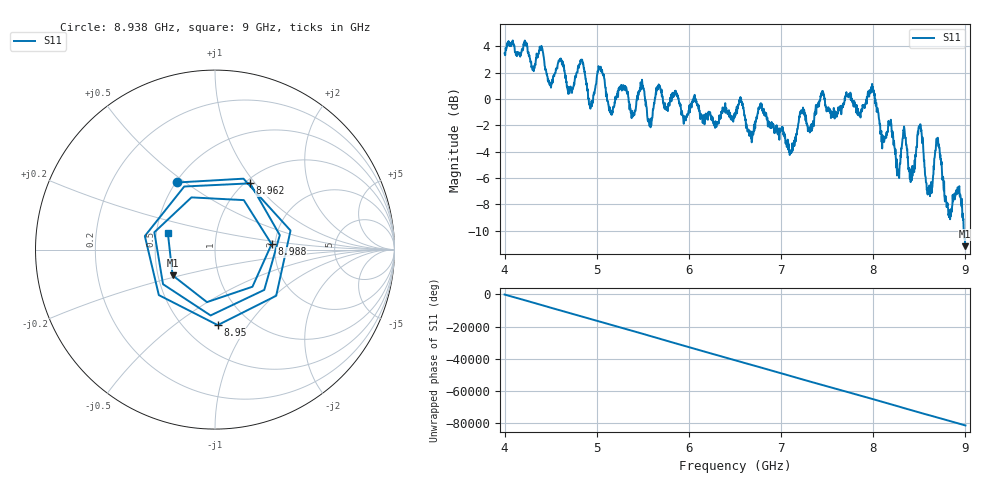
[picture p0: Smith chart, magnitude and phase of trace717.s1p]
! Created with skrf 1.8.0 (http://scikit-rf.org).
# Hz S RI R 50.0
!freq ReS11 ImS11
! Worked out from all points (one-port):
!   1601 points, 4 GHz to 9 GHz, reference 50 ohm
!   lowest |S11| = -11.2 dB at 8.997 GHz (marker M1), VSWR 1.76, Z = 29.8 - j9.25 ohm
!   |S11| at or under -10 dB: 8.988067 GHz to end of sweep
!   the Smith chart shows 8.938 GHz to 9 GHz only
!   S11 on the Smith chart (normalised r, x): 8.938 GHz: 0.51, +0.47; 8.95 GHz: 0.72, -0.73; 8.962 GHz: 1.05, +0.94; 8.988 GHz: 1.92, +0.13; 9 GHz: 0.58, +0.11
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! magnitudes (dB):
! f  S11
! 4 GHz  3.5
! 4.625 GHz  2.7
! 4.709 GHz  0.8
! 4.838 GHz  2.9
! 4.934 GHz  -0.5
! 5.034 GHz  2.3
! 5.15 GHz  -0.8
! 5.25 GHz  0.9
! 5.491 GHz  1.5
! 5.575 GHz  -2.1
! 5.875 GHz  0.2
! 6.5 GHz  -1.1
! 7.125 GHz  -3.9
! 7.228 GHz  -0.9
! 7.75 GHz  0.5
! 7.991 GHz  0.8
! 8.269 GHz  -5.6
! 8.375 GHz  -4.4
! 8.503 GHz  -2.0
! 8.597 GHz  -7.1
! 8.697 GHz  -3.2
! 8.819 GHz  -8.7
! 8.938 GHz  -7.4
! 8.95 GHz  -7.5
! 8.962 GHz  -7.6
! 8.988 GHz  -10.0
! 8.997 GHz  -11.2
! 9 GHz  -11.1
